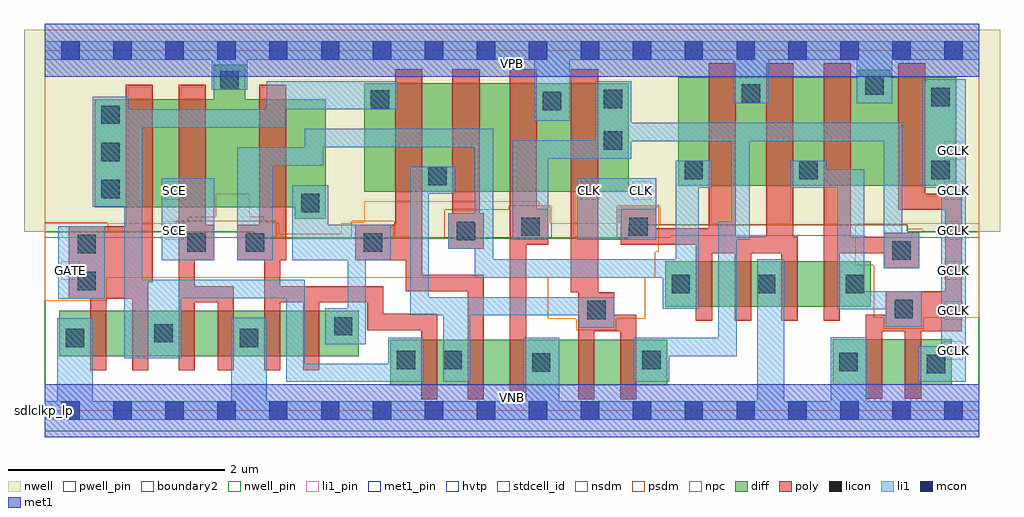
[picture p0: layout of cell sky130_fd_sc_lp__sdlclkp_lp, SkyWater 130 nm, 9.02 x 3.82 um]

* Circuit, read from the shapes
.subckt sky130_fd_sc_lp__sdlclkp_lp CLK GATE GCLK SCE VGND VNB VPB VPWR
XM1 n1 GATE VGND VNB sky130_fd_pr__nfet_01v8 w=0.42 l=0.15
XM2 n2 GATE n1 VNB sky130_fd_pr__nfet_01v8 w=0.42 l=0.15
XM3 n3 SCE n2 VNB sky130_fd_pr__nfet_01v8 w=0.42 l=0.15
XM4 VGND SCE n3 VNB sky130_fd_pr__nfet_01v8 w=0.42 l=0.15
XM5 n4 n5 VGND VNB sky130_fd_pr__nfet_01v8 w=0.42 l=0.15
XM6 n6 n5 n4 VNB sky130_fd_pr__nfet_01v8 w=0.42 l=0.15
XM7 n7 n5 n2 VNB sky130_fd_pr__nfet_01v8 w=0.42 l=0.15
XM8 n8 n6 n7 VNB sky130_fd_pr__nfet_01v8 w=0.42 l=0.15
XM9 VGND n9 n8 VNB sky130_fd_pr__nfet_01v8 w=0.42 l=0.15
XM10 n10 n7 VGND VNB sky130_fd_pr__nfet_01v8 w=0.42 l=0.15
XM11 n9 n7 n10 VNB sky130_fd_pr__nfet_01v8 w=0.42 l=0.15
XM12 n11 CLK n5 VNB sky130_fd_pr__nfet_01v8 w=0.42 l=0.15
XM13 VGND CLK n11 VNB sky130_fd_pr__nfet_01v8 w=0.42 l=0.15
XM14 n12 CLK VGND VNB sky130_fd_pr__nfet_01v8 w=0.42 l=0.15
XM15 n13 n9 n12 VNB sky130_fd_pr__nfet_01v8 w=0.42 l=0.15
XM16 n14 n13 VGND VNB sky130_fd_pr__nfet_01v8 w=0.42 l=0.15
XM17 GCLK n13 n14 VNB sky130_fd_pr__nfet_01v8 w=0.42 l=0.15
XM18 n15 GATE n2 VPB sky130_fd_pr__pfet_01v8_hvt w=1 l=0.25
XM19 VPWR SCE n15 VPB sky130_fd_pr__pfet_01v8_hvt w=1 l=0.25
XM20 n6 n5 VPWR VPB sky130_fd_pr__pfet_01v8_hvt w=1 l=0.25
XM21 n7 n6 n2 VPB sky130_fd_pr__pfet_01v8_hvt w=1 l=0.25
XM22 n16 n5 n7 VPB sky130_fd_pr__pfet_01v8_hvt w=1 l=0.25
XM23 VPWR n9 n16 VPB sky130_fd_pr__pfet_01v8_hvt w=1 l=0.25
XM24 n9 n7 VPWR VPB sky130_fd_pr__pfet_01v8_hvt w=1 l=0.25
XM25 VPWR CLK n5 VPB sky130_fd_pr__pfet_01v8_hvt w=1 l=0.25
XM26 n13 CLK VPWR VPB sky130_fd_pr__pfet_01v8_hvt w=1 l=0.25
XM27 VPWR n9 n13 VPB sky130_fd_pr__pfet_01v8_hvt w=1 l=0.25
XM28 GCLK n13 VPWR VPB sky130_fd_pr__pfet_01v8_hvt w=1 l=0.25
.ends

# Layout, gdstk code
import gdstk
lib = gdstk.Library(unit=1e-6, precision=1e-09)
def R(c, l, rs):  # rectangles x0, y0, x1, y1
    for r in rs: c.add(gdstk.rectangle(r[:2], r[2:], *l))
def A(c, l, x, y, w, h, nx, ny, dx, dy):  # array of equal rectangles
    R(c, l, [(x+i*dx, y+j*dy, x+i*dx+w, y+j*dy+h) for i in range(nx) for j in range(ny)])
def P(c, l, *ps):  # polygons
    for p in ps: c.add(gdstk.Polygon(p, *l))
nwell_pin = (64, 16)
nwell = (64, 20)
diff = (65, 20)
poly = (66, 20)
licon = (66, 44)
li1_pin = (67, 16)
li1 = (67, 20)
mcon = (67, 44)
met1_pin = (68, 16)
met1 = (68, 20)
hvtp = (78, 44)
stdcell_id = (81, 4)
nsdm = (93, 44)
psdm = (94, 20)
npc = (95, 20)
pwell_pin = (122, 16)
boundary2 = (236, 0)

sky130_fd_sc_lp__sdlclkp = lib.new_cell('sky130_fd_sc_lp__sdlclkp_lp')
R(sky130_fd_sc_lp__sdlclkp, nwell_pin, [(0,3.085,8.64,3.33)])
P(sky130_fd_sc_lp__sdlclkp, nwell, [(8.83,3.52),(-0.19,3.52),(-0.19,1.655),(1.94,1.655),(1.94,1.595),(5.395,1.595),(5.395,1.72),(7.975,1.72),(7.975,1.655),(8.83,1.655)])
R(sky130_fd_sc_lp__sdlclkp, diff, [(3.195,0.235,5.755,0.655), (7.285,0.24,8.385,0.66), (0.135,0.505,2.905,0.925), (5.735,0.96,7.635,1.38), (2.955,2.025,5.4,3.025)])
P(sky130_fd_sc_lp__sdlclkp, diff, [(2.6,2.88),(1.855,2.88),(1.855,3.195),(1.565,3.195),(1.565,2.88),(0.465,2.88),(0.465,1.88),(2.31,1.88),(2.31,1.775),(2.6,1.775)],
  [(8.425,3.08),(7.815,3.08),(7.815,3.15),(7.525,3.15),(7.525,3.08),(5.855,3.08),(5.855,2.08),(8.425,2.08)])
P(sky130_fd_sc_lp__sdlclkp, poly, [(1,3.01),(0.75,3.01),(0.75,1.705),(0.225,1.705),(0.225,1.035),(0.42,1.035),(0.42,0.375),(0.57,0.375),(0.57,1.035),(0.81,1.035),(0.81,0.375),(0.96,0.375),(0.96,1.185),(1,1.185)],
  [(1.75,1.15),(1.39,1.15),(1.39,1.39),(1.57,1.39),(1.57,1.72),(1.49,1.72),(1.49,3.01),(1.24,3.01),(1.24,0.375),(1.39,0.375),(1.39,1),(1.6,1),(1.6,0.375),(1.75,0.375)],
  [(3.63,0.895),(3.13,0.895),(3.13,1.15),(2.18,1.15),(2.18,1.39),(2.235,1.39),(2.235,3.01),(1.985,3.01),(1.985,1.72),(1.78,1.72),(1.78,1.39),(2.03,1.39),(2.03,0.375),(2.18,0.375),(2.18,1),(2.39,1),(2.39,0.375),(2.54,0.375),(2.54,1),(2.98,1),(2.98,0.745),(3.48,0.745),(3.48,0.105),(3.63,0.105)],
  [(4.06,1.825),(4.02,1.825),(4.02,3.155),(3.77,3.155),(3.77,1.825),(3.73,1.825),(3.73,1.495),(4.06,1.495)],
  [(4.06,1.255),(3.49,1.255),(3.49,3.155),(3.24,3.155),(3.24,1.72),(2.87,1.72),(2.87,1.39),(3.34,1.39),(3.34,1.105),(3.91,1.105),(3.91,0.105),(4.06,0.105)],
  [(4.655,1.865),(4.55,1.865),(4.55,3.155),(4.3,3.155),(4.3,0.105),(4.45,0.105),(4.45,1.535),(4.655,1.535)],
  [(5.47,0.885),(5.265,0.885),(5.265,1.095),(5.115,1.095),(5.115,3.155),(4.865,3.155),(4.865,1.095),(4.93,1.095),(4.93,0.105),(5.08,0.105),(5.08,0.735),(5.32,0.735),(5.32,0.105),(5.47,0.105)],
  [(6.96,1.605),(6.92,1.605),(6.92,3.21),(6.67,3.21),(6.67,1.605),(6.39,1.605),(6.39,3.21),(6.14,3.21),(6.14,1.685),(5.655,1.685),(5.655,1.865),(5.325,1.865),(5.325,1.535),(6.02,1.535),(6.02,0.83),(6.17,0.83),(6.17,1.455),(6.38,1.455),(6.38,0.83),(6.53,0.83),(6.53,1.455),(6.81,1.455),(6.81,0.83),(6.96,0.83)],
  [(8.085,1.645),(7.755,1.645),(7.755,1.605),(7.45,1.605),(7.45,3.21),(7.2,3.21),(7.2,0.83),(7.35,0.83),(7.35,1.455),(7.755,1.455),(7.755,1.315),(8.085,1.315)],
  [(8.475,2.005),(8.14,2.005),(8.14,3.21),(7.89,3.21),(7.89,1.855),(8.325,1.855),(8.325,1.105),(7.775,1.105),(7.775,0.885),(7.59,0.885),(7.59,0.11),(7.74,0.11),(7.74,0.735),(7.95,0.735),(7.95,0.11),(8.1,0.11),(8.1,0.735),(8.475,0.735)])
R(sky130_fd_sc_lp__sdlclkp, licon, [(8.155,0.345,8.325,0.515), (4.505,0.36,4.675,0.53), (7.345,0.365,7.515,0.535), (3.255,0.385,3.425,0.555), (3.685,0.385,3.855,0.555), (5.525,0.385,5.695,0.555), (0.195,0.585,0.365,0.755), (1.805,0.585,1.975,0.755), (1.015,0.63,1.185,0.8), (2.675,0.695,2.845,0.865), (5.015,0.845,5.185,1.015), (7.855,0.855,8.025,1.025), (5.795,1.085,5.965,1.255), (6.585,1.085,6.755,1.255), (7.405,1.085,7.575,1.255), (0.305,1.115,0.475,1.285), (7.835,1.395,8.005,1.565), (0.305,1.455,0.475,1.625), (1.32,1.47,1.49,1.64), (1.86,1.47,2.03,1.64), (2.95,1.47,3.12,1.64), (3.81,1.575,3.98,1.745), (4.405,1.615,4.575,1.785), (5.405,1.615,5.575,1.785), (2.37,1.835,2.54,2.005), (0.525,1.965,0.695,2.135), (3.545,2.085,3.715,2.255), (5.915,2.14,6.085,2.31), (6.975,2.14,7.145,2.31), (8.195,2.14,8.365,2.31), (0.525,2.305,0.695,2.475), (5.17,2.41,5.34,2.58), (0.525,2.65,0.695,2.82), (4.605,2.775,4.775,2.945), (3.015,2.79,3.185,2.96), (5.17,2.795,5.34,2.965), (8.195,2.815,8.365,2.985), (6.445,2.845,6.615,3.015), (7.585,2.92,7.755,3.09), (1.625,2.965,1.795,3.135)])
A(sky130_fd_sc_lp__sdlclkp, li1_pin, 8.315, 0.47, 0.17, 0.17, 1, 6, 0, 0.37)
R(sky130_fd_sc_lp__sdlclkp, li1_pin, [(0.155,1.21,0.325,1.38), (1.115,1.58,1.285,1.75), (1.115,1.95,1.285,2.12), (4.955,1.95,5.125,2.12), (5.435,1.95,5.605,2.12)])
R(sky130_fd_sc_lp__sdlclkp, li1, [(0.125,1.035,0.555,1.705), (1.085,1.39,1.57,2.15), (4.925,1.58,5.655,2.15)])
P(sky130_fd_sc_lp__sdlclkp, li1, [(1.545,2.965),(1.545,3.245),(0,3.245),(0,3.415),(8.64,3.415),(8.64,3.245),(7.835,3.245),(7.835,2.84),(7.505,2.84),(7.505,3.245),(6.695,3.245),(6.695,2.84),(6.365,2.84),(6.365,3.245),(4.855,3.245),(4.855,2.68),(4.525,2.68),(4.525,3.245),(1.875,3.245),(1.875,2.965)],
  [(0.115,0.085),(0.115,0.855),(0.445,0.855),(0.445,0.085),(1.725,0.085),(1.725,0.86),(2.055,0.86),(2.055,0.085),(4.425,0.085),(4.425,0.675),(4.755,0.675),(4.755,0.085),(6.585,0.085),(6.585,1.4),(6.835,1.4),(6.835,0.085),(7.265,0.085),(7.265,0.68),(7.595,0.68),(7.595,0.085),(8.64,0.085),(8.64,-0.085),(0,-0.085),(0,0.085)],
  [(2.29,1.39),(2.29,2.085),(2.62,2.085),(2.62,1.72),(3.2,1.72),(3.2,1.39),(2.97,1.39),(2.97,0.615),(2.595,0.615),(2.595,0.945),(2.8,0.945),(2.8,1.39)],
  [(2.055,2.785),(2.055,3.045),(3.265,3.045),(3.265,2.785),(2.225,2.785),(2.225,2.615),(0.905,2.615),(0.905,1.21),(2.405,1.21),(2.405,0.435),(3.175,0.435),(3.175,0.675),(3.505,0.675),(3.505,0.265),(2.235,0.265),(2.235,1.04),(1.265,1.04),(1.265,0.485),(0.735,0.485),(0.735,1.885),(0.445,1.885),(0.445,2.9),(0.775,2.9),(0.775,2.785)],
  [(3.975,1.23),(3.975,1.495),(3.73,1.495),(3.73,1.825),(3.975,1.825),(3.975,2.435),(2.575,2.435),(2.575,2.265),(2.11,2.265),(2.11,1.39),(1.78,1.39),(1.78,2.435),(2.405,2.435),(2.405,2.605),(4.145,2.605),(4.145,1.4),(5.835,1.4),(5.835,2.31),(6.165,2.31),(6.165,2.06),(6.045,2.06),(6.045,0.94),(5.715,0.94),(5.715,1.23)],
  [(6.395,0.505),(5.775,0.505),(5.775,0.265),(5.445,0.265),(5.445,0.675),(6.225,0.675),(6.225,1.75),(6.345,1.75),(6.345,2.49),(5.42,2.49),(5.42,2.33),(4.655,2.33),(4.655,1.58),(4.325,1.58),(4.325,2.5),(5.09,2.5),(5.09,3.045),(5.42,3.045),(5.42,2.66),(7.925,2.66),(7.925,1.645),(8.085,1.645),(8.085,1.315),(7.755,1.315),(7.755,2.49),(6.515,2.49),(6.515,1.58),(6.395,1.58)],
  [(7.225,2.23),(7.575,2.23),(7.575,1.105),(8.105,1.105),(8.105,0.775),(7.775,0.775),(7.775,0.935),(7.325,0.935),(7.325,2.06),(6.895,2.06),(6.895,2.31),(7.225,2.31)],
  [(3.38,2.255),(3.795,2.255),(3.795,2.005),(3.55,2.005),(3.55,1.05),(5.265,1.05),(5.265,0.765),(4.935,0.765),(4.935,0.88),(3.935,0.88),(3.935,0.265),(3.685,0.265),(3.685,0.88),(3.38,0.88)],
  [(8.115,2.06),(8.115,3.065),(8.515,3.065),(8.515,0.265),(8.075,0.265),(8.075,0.595),(8.285,0.595),(8.285,2.06)])
A(sky130_fd_sc_lp__sdlclkp, mcon, 0.155, -0.085, 0.17, 0.17, 18, 2, 0.48, 3.33)
R(sky130_fd_sc_lp__sdlclkp, met1_pin, [(0,0,8.64,0.245), (0,3.085,8.64,3.33)])
R(sky130_fd_sc_lp__sdlclkp, met1, [(0,-0.245,8.64,0.245), (0,3.085,8.64,3.575)])
P(sky130_fd_sc_lp__sdlclkp, hvtp, [(8.64,3.33),(0,3.33),(0,1.6),(5.785,1.6),(5.785,1.615),(7.585,1.615),(7.585,1.6),(8.64,1.6)])
R(sky130_fd_sc_lp__sdlclkp, stdcell_id, [(0,0,8.64,3.33)])
P(sky130_fd_sc_lp__sdlclkp, nsdm, [(8.64,1.655),(7.975,1.655),(7.975,1.72),(5.395,1.72),(5.395,1.595),(1.94,1.595),(1.94,1.655),(0,1.655),(0,-0.19),(8.64,-0.19)])
P(sky130_fd_sc_lp__sdlclkp, psdm, [(8.64,3.52),(0,3.52),(0,1.735),(0.585,1.735),(0.585,1.655),(1.21,1.655),(1.21,1.75),(2.14,1.75),(2.14,1.595),(2.84,1.595),(2.84,1.75),(3.23,1.75),(3.23,1.595),(3.7,1.595),(3.7,1.855),(4.295,1.855),(4.295,1.895),(4.685,1.895),(4.685,1.595),(5.295,1.595),(5.295,1.895),(5.685,1.895),(5.685,1.72),(7.975,1.72),(7.975,1.675),(8.115,1.675),(8.115,1.655),(8.64,1.655)])
P(sky130_fd_sc_lp__sdlclkp, npc, [(5.675,1.885),(5.305,1.885),(5.305,1.73),(4.675,1.73),(4.675,1.885),(4.57,1.885),(4.57,1.935),(2.955,1.935),(2.955,1.74),(2.85,1.74),(2.85,1.73),(2.74,1.73),(2.74,1.635),(2.17,1.635),(2.17,1.73),(2.13,1.73),(2.13,1.74),(2.025,1.74),(2.025,1.79),(1.895,1.79),(1.895,2.005),(1.58,2.005),(1.58,1.79),(1.325,1.79),(1.325,1.74),(1.22,1.74),(1.22,1.73),(0,1.73),(0,1.015),(0.575,1.015),(0.575,1.23),(4.65,1.23),(4.65,0.85),(4.915,0.85),(4.915,0.745),(5.285,0.745),(5.285,0.85),(5.55,0.85),(5.55,1.23),(5.645,1.23),(5.645,1.47),(5.675,1.47)],
  [(8.64,1.73),(7.49,1.73),(7.49,1.345),(7.665,1.345),(7.665,0.86),(7.755,0.86),(7.755,0.755),(8.125,0.755),(8.125,0.86),(8.64,0.86)])
R(sky130_fd_sc_lp__sdlclkp, pwell_pin, [(0,0,8.64,0.245)])
R(sky130_fd_sc_lp__sdlclkp, boundary2, [(0,0,8.64,3.33)])
sky130_fd_sc_lp__sdlclkp.add(gdstk.Label('VNB', (4.32,0.123), layer=64, texttype=59))
sky130_fd_sc_lp__sdlclkp.add(gdstk.Label('VPB', (4.32,3.208), layer=64, texttype=5))
sky130_fd_sc_lp__sdlclkp.add(gdstk.Label('sdlclkp_lp', (0,0), layer=83, texttype=44))
sky130_fd_sc_lp__sdlclkp.add(gdstk.Label('VPWR', (4.32,3.208), layer=68, texttype=5))
sky130_fd_sc_lp__sdlclkp.add(gdstk.Label('VGND', (4.32,0.123), layer=68, texttype=5))
sky130_fd_sc_lp__sdlclkp.add(gdstk.Label('CLK', (5.04,2.035), layer=67, texttype=5))
sky130_fd_sc_lp__sdlclkp.add(gdstk.Label('CLK', (5.52,2.035), layer=67, texttype=5))
sky130_fd_sc_lp__sdlclkp.add(gdstk.Label('SCE', (1.2,1.665), layer=67, texttype=5))
sky130_fd_sc_lp__sdlclkp.add(gdstk.Label('SCE', (1.2,2.035), layer=67, texttype=5))
sky130_fd_sc_lp__sdlclkp.add(gdstk.Label('GCLK', (8.4,0.555), layer=67, texttype=5))
sky130_fd_sc_lp__sdlclkp.add(gdstk.Label('GCLK', (8.4,0.925), layer=67, texttype=5))
sky130_fd_sc_lp__sdlclkp.add(gdstk.Label('GCLK', (8.4,1.295), layer=67, texttype=5))
sky130_fd_sc_lp__sdlclkp.add(gdstk.Label('GCLK', (8.4,1.665), layer=67, texttype=5))
sky130_fd_sc_lp__sdlclkp.add(gdstk.Label('GCLK', (8.4,2.035), layer=67, texttype=5))
sky130_fd_sc_lp__sdlclkp.add(gdstk.Label('GCLK', (8.4,2.405), layer=67, texttype=5))
sky130_fd_sc_lp__sdlclkp.add(gdstk.Label('GATE', (0.24,1.295), layer=67, texttype=5))

lib.write_gds('sky130_fd_sc_lp__sdlclkp_lp.gds')
